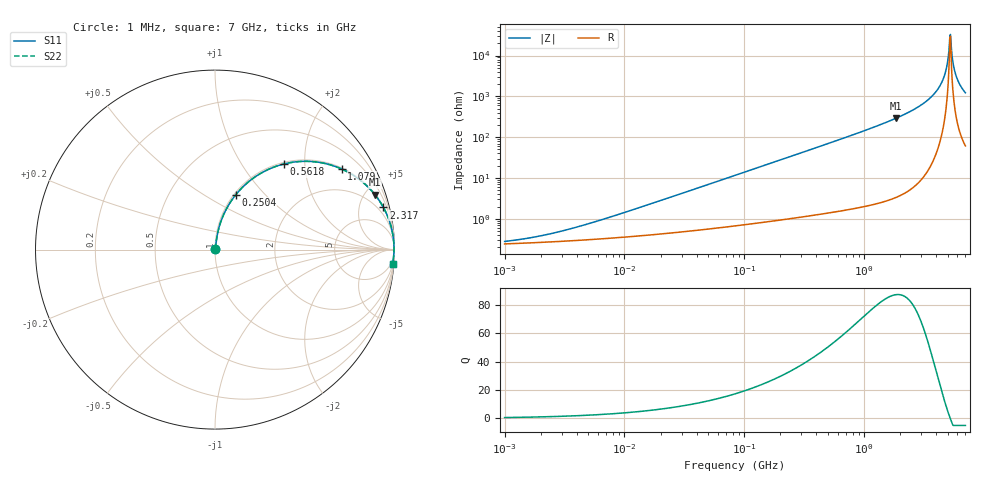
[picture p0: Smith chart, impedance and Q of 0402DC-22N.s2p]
# MHz  S  MA  R  50
!Freq  MagS11  AngS11  MagS21  AngS21  MagS12  AngS12  MagS22  AngS22
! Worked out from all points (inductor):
!   801 points, 1 MHz to 7 GHz, reference 50 ohm
!   read as one part in series: L = 22 nH near 7.172 MHz
!   highest Q = 87.3 at 1.836 GHz (marker M1), where L = 25.1 nH
!   self-resonance near 5.198 GHz
!   S11 on the Smith chart (normalised r, x): 1 MHz: 1.00, +0.00; 250.4 MHz: 1.02, +0.69; 561.8 MHz: 1.03, +1.57; 1.079 GHz: 1.04, +3.12; 2.317 GHz: 1.09, +7.97; 7 GHz: 2, -24
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1  0.002783 29.6  0.9976 -0.1  0.9976 -0.1  0.002783 29.6
4.406943  0.006769 63.4  0.997 -0.3  0.997 -0.3  0.006769 63.4
19.20737  0.02676 79.5  0.9955 -1.5  0.9955 -1.5  0.02676 79.5
83.71406  0.1144 80.1  0.9869 -6.6  0.9869 -6.6  0.1144 80.1
250.4327  0.325 69.4  0.9362 -19.0  0.9362 -19.0  0.325 69.4
368.9231  0.4519 61.8  0.8815 -26.9  0.8815 -26.9  0.4519 61.8
561.8258  0.6124 51.2  0.7793 -37.8  0.7793 -37.8  0.6124 51.2
1079.48  0.8366 32.5  0.5367 -56.8  0.5367 -56.8  0.8366 32.5
1607.927  0.9223 22.1  0.3758 -67.3  0.3758 -67.3  0.9223 22.1
1836.328  0.9419 19.0  0.3253 -70.4  0.3253 -70.4  0.9419 19.0
2316.846  0.9672 14.0  0.2428 -75.3  0.2428 -75.3  0.9672 14.0
3301.574  0.9892 7.5  0.1304 -81.5  0.1304 -81.5  0.9892 7.5
4165.508  0.9957 3.6  0.06331 -84.3  0.06331 -84.3  0.9957 3.6
4704.841  0.9971 1.7  0.0294 -83.5  0.0294 -83.5  0.9971 1.7
4863.691  0.9972 1.2  0.02027 -81.6  0.02027 -81.6  0.9972 1.2
5083.864  0.9973 0.5  0.008322 -70.9  0.008322 -70.9  0.9973 0.5
5197.66  0.9973 0.1  0.003251 -33.1  0.003251 -33.1  0.9973 0.1
5373.149  0.9972 -0.4  0.007898 68.6  0.007898 68.6  0.9972 -0.4
5678.895  0.9967 -1.3  0.02285 81.1  0.02285 81.1  0.9967 -1.3
5935.972  0.9962 -2.0  0.03504 82.8  0.03504 82.8  0.9962 -2.0
6414.175  0.9948 -3.2  0.05657 83.2  0.05657 83.2  0.9948 -3.2
7000  0.9926 -4.6  0.08116 82.5  0.08116 82.5  0.9926 -4.6
